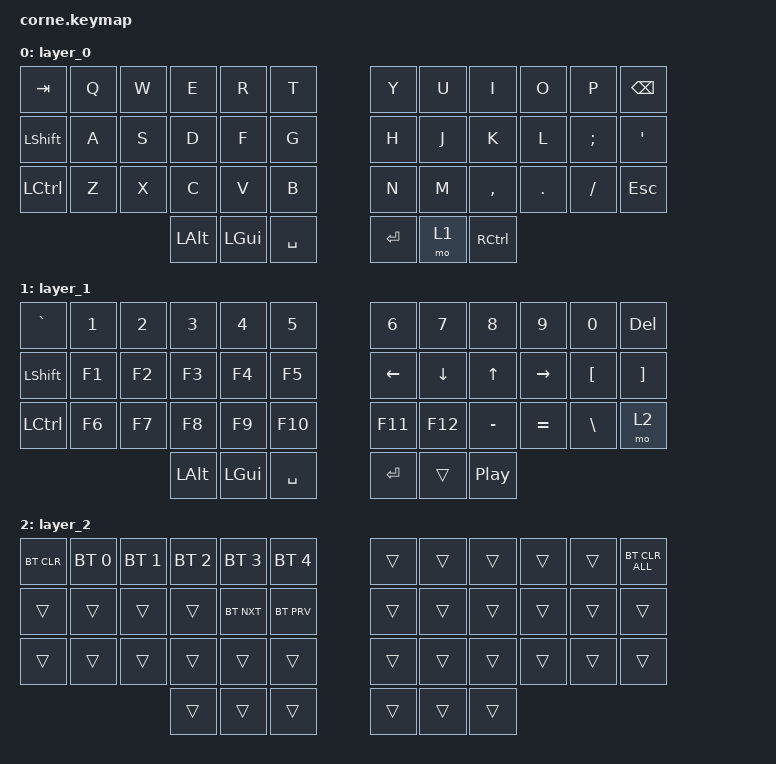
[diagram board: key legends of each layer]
#include <behaviors.dtsi>
#include <dt-bindings/zmk/bt.h>
#include <dt-bindings/zmk/keys.h>

/ {
    keymap {
        compatible = "zmk,keymap";

        layer_0 {
            bindings = <
&kp TAB    &kp Q  &kp W  &kp E     &kp R     &kp T        &kp Y      &kp U  &kp I      &kp O    &kp P     &kp BSPC
&kp LSHFT  &kp A  &kp S  &kp D     &kp F     &kp G        &kp H      &kp J  &kp K      &kp L    &kp SEMI  &kp APOS
&kp LCTRL  &kp Z  &kp X  &kp C     &kp V     &kp B        &kp N      &kp M  &kp COMMA  &kp DOT  &kp FSLH  &kp ESC
                         &kp LALT  &kp LGUI  &kp SPACE    &kp ENTER  &mo 1  &kp RCTRL
            >;
        };

        layer_1 {
            bindings = <
&kp GRAVE  &kp N1  &kp N2  &kp N3    &kp N4    &kp N5       &kp N6    &kp N7    &kp N8     &kp N9     &kp N0    &kp DEL
&kp LSHFT  &kp F1  &kp F2  &kp F3    &kp F4    &kp F5       &kp LEFT  &kp DOWN  &kp UP     &kp RIGHT  &kp LBKT  &kp RBKT
&kp LCTRL  &kp F6  &kp F7  &kp F8    &kp F9    &kp F10      &kp F11   &kp F12   &kp MINUS  &kp EQUAL  &kp BSLH  &mo 2
                           &kp LALT  &kp LGUI  &kp SPACE    &kp RET   &trans    &kp C_PP
            >;
        };

        layer_2 {
            bindings = <
&bt BT_CLR  &bt BT_SEL 0  &bt BT_SEL 1  &bt BT_SEL 2  &bt BT_SEL 3  &bt BT_SEL 4    &trans  &trans  &trans  &trans  &trans  &bt BT_CLR_ALL
&trans      &trans        &trans        &trans        &bt BT_NXT    &bt BT_PRV      &trans  &trans  &trans  &trans  &trans  &trans
&trans      &trans        &trans        &trans        &trans        &trans          &trans  &trans  &trans  &trans  &trans  &trans
                                        &trans        &trans        &trans          &trans  &trans  &trans
            >;
        };
    };
};
